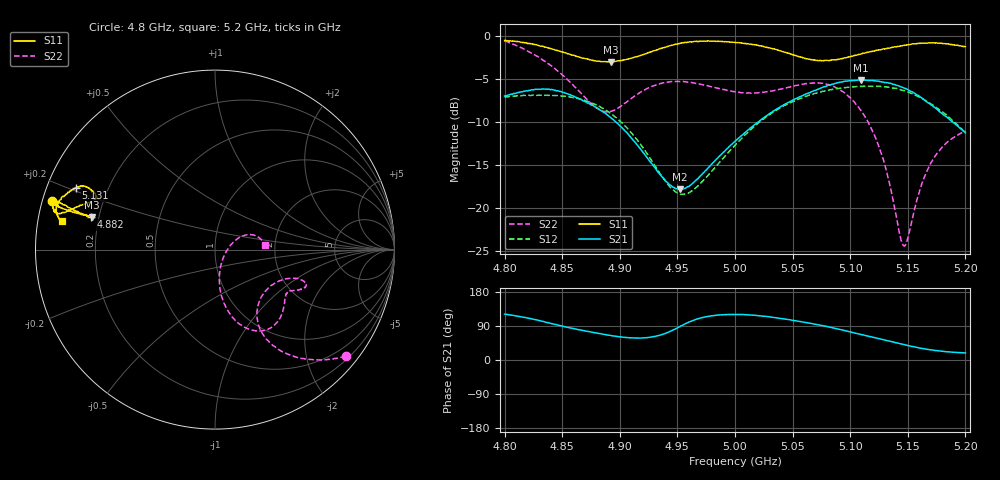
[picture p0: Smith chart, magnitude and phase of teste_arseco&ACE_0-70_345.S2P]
! Network Analyzer HP8722D
! Hewlett-Packard
! Data name: Linha & Wilkinson
! Saver's name: Rodrigo Anjos
! Comments: Teste da utilização de aquisição
! continua pelo VNA HP8722D
! Time and date: 8/5/2025 15:38
!  Frequency  S11  S21  S12  S22
# HZ  S  MA R 50
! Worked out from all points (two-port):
!   401 points, 4.8 GHz to 5.2 GHz, reference 50 ohm
!   highest |S21| = -5.08 dB at 5.109 GHz (marker M1); lowest = -17.8 dB at 4.952 GHz (marker M2)
!   |S21| within 3 dB of the highest: start of sweep to 4.877 GHz; 5.041 GHz to 5.171 GHz (130.4 MHz wide, 2.55 % of centre)
!   lowest |S11| = -3.0 dB at 4.892 GHz (marker M3), VSWR 5.89, Z = 8.63 + j6.3 ohm
!   |S11| at or under -10 dB: nowhere
!   |S22| runs from -24.4 to -0.6 dB; largest |S21 - S12| = 0.73
!   S11 on the Smith chart (normalised r, x): 4.8 GHz: 0.03, +0.15; 4.882 GHz: 0.17, +0.13; 5.131 GHz: 0.09, +0.21; 5.2 GHz: 0.07, +0.09
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4.8e9  0.9447 163.5  0.4496 121.1  0.4442 15.9  0.937 -39.1
4.831e9  0.8765 165.0  0.4918 103.4  0.4543 6.5  0.7449 -53.3
4.867e9  0.748 165.2  0.4276 78.4  0.4284 -9.3  0.4616 -59.0
4.882e9  0.7167 165.3  0.3764 69.9  0.3926 -17.7  0.3746 -47.9
4.892e9  0.7096 165.2  0.3374 64.9  0.3548 -23.8  0.3659 -35.9
4.91e9  0.7447 165.1  0.2562 58.3  0.2744 -32.3  0.4348 -21.8
4.934e9  0.843 163.9  0.1599 64.8  0.1633 -30.1  0.5269 -19.7
4.952e9  0.908 163.0  0.1288 87.9  0.1211 -6.0  0.5459 -22.1
4.967e9  0.9345 163.4  0.147 108.3  0.1333 17.8  0.5307 -24.5
5e9  0.9214 166.6  0.2459 120.1  0.2328 38.0  0.4755 -29.0
5.033e9  0.8439 165.1  0.3663 112.8  0.3611 33.1  0.483 -36.3
5.067e9  0.7308 158.0  0.4782 95.9  0.461 18.0  0.535 -51.2
5.088e9  0.7305 155.2  0.5344 82.8  0.4953 6.2  0.5018 -64.1
5.109e9  0.7882 153.9  0.5572 67.7  0.5113 -6.6  0.373 -76.6
5.121e9  0.8201 154.5  0.5501 58.9  0.5113 -14.1  0.2667 -81.8
5.131e9  0.8464 156.2  0.5382 52.1  0.5081 -20.6  0.1696 -82.1
5.134e9  0.8528 156.5  0.5334 49.9  0.5041 -22.8  0.1414 -79.7
5.143e9  0.8748 158.6  0.5116 43.2  0.4902 -28.8  0.07048 -54.0
5.147e9  0.8855 159.6  0.4999 40.3  0.4821 -31.5  0.06029 -24.2
5.161e9  0.9095 162.9  0.4433 31.4  0.4391 -40.0  0.1315 25.2
5.17e9  0.9142 164.8  0.3998 26.7  0.4052 -44.6  0.1836 25.8
5.2e9  0.869 169.5  0.2746 18.6  0.2752 -53.8  0.2806 5.0
